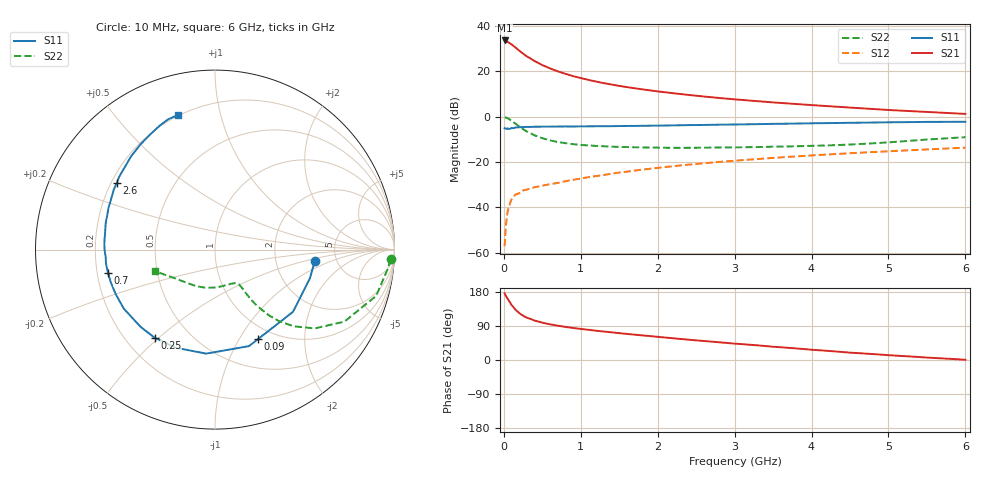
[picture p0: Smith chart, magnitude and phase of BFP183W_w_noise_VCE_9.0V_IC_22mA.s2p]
! Infineon Technologies  Discrete & RF Semiconductors
! BFP183W
! VCE =  9.0 V,  IC =  22 mA
! Common Emitter S-Parameters:  Jan 2017
# GHz  S  MA  R  50
!  f  S11  S21  S12  S22
! GHz  MAG  ANG  MAG  ANG  MAG  ANG  MAG  ANG
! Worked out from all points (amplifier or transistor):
!   77 points, 10 MHz to 6 GHz, reference 50 ohm
!   highest |S21| = 33.7 dB at 10 MHz (marker M1)
!   |S21| within 3 dB of that: start of sweep to 147.1 MHz
!   unconditionally stable (mu >= 1): 1.183 GHz to 3.535 GHz
!   at 130 MHz: K = 0.24, MSG = 33.1 dB, |S12| = -35.1 dB
!   at 2.2 GHz: K = 1.06, MAG = 14.6 dB, |S12| = -21.8 dB
!   at 6 GHz: K = 0.86, MSG = 7.4 dB, |S12| = -13.6 dB
!   lowest NFmin = 1.22 dB at 450 MHz
!   S11 on the Smith chart (normalised r, x): 10 MHz: 3.40, -0.66; 90 MHz: 0.84, -1.20; 250 MHz: 0.32, -0.48; 700 MHz: 0.24, -0.10; 2.6 GHz: 0.22, +0.29; 6 GHz: 0.20, +0.75
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0.01  0.5592 -6.8  48.33 176.1  0.0014 78.0  0.98 -3.1
0.02  0.5525 -16.9  47.53 171.7  0.0027 89.2  0.9678 -6.5
0.05  0.5559 -38.6  45.24 161.0  0.0082 71.5  0.9341 -16.0
0.09  0.5535 -64.5  40.57 148.6  0.0136 66.3  0.8433 -26.2
0.1  0.5701 -70.6  39.74 145.1  0.015 65.6  0.8253 -29.1
0.15  0.5816 -94.8  33.92 133.0  0.0192 55.5  0.7085 -38.3
0.2  0.5886 -111.6  28.78 123.8  0.0206 50.7  0.6117 -44.3
0.25  0.5952 -124.4  24.74 116.8  0.0237 47.3  0.5337 -48.2
0.3  0.5976 -133.9  21.47 111.6  0.0248 46.5  0.4726 -50.7
0.4  0.6054 -147.1  16.93 103.9  0.028 45.5  0.3894 -53.3
0.5  0.6063 -155.9  13.83 98.5  0.0302 47.3  0.3371 -54.3
0.6  0.6088 -162.7  11.7 94.2  0.0327 47.9  0.3022 -54.6
0.7  0.6099 -167.8  10.09 90.6  0.0347 50.2  0.278 -54.6
0.9  0.6106 -176.3  7.902 84.5  0.0407 52.9  0.2493 -55.1
1.1  0.6168 177.6  6.521 79.7  0.0465 55.0  0.2335 -55.6
1.5  0.6251 167.3  4.806 70.9  0.0589 57.9  0.2165 -59.6
2.1  0.6424 154.8  3.472 59.3  0.078 58.4  0.2078 -70.1
2.6  0.661 145.9  2.803 50.1  0.0943 57.4  0.2083 -82.0
3.1  0.6802 137.9  2.353 41.8  0.1106 55.5  0.2126 -94.5
4.1  0.7221 123.8  1.768 25.7  0.1438 50.7  0.231 -120.3
5.1  0.7588 113.2  1.386 11.5  0.1769 45.0  0.2809 -146.3
6  0.7775 105.2  1.159 0.6  0.2086 39.1  0.3552 -160.5
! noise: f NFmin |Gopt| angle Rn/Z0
0.45  1.22  0.22  174  0.1
0.9  1.25  0.26  177  0.09
1.9  1.73  0.41  -161  0.09
2.4  1.96  0.46  -155  0.12
